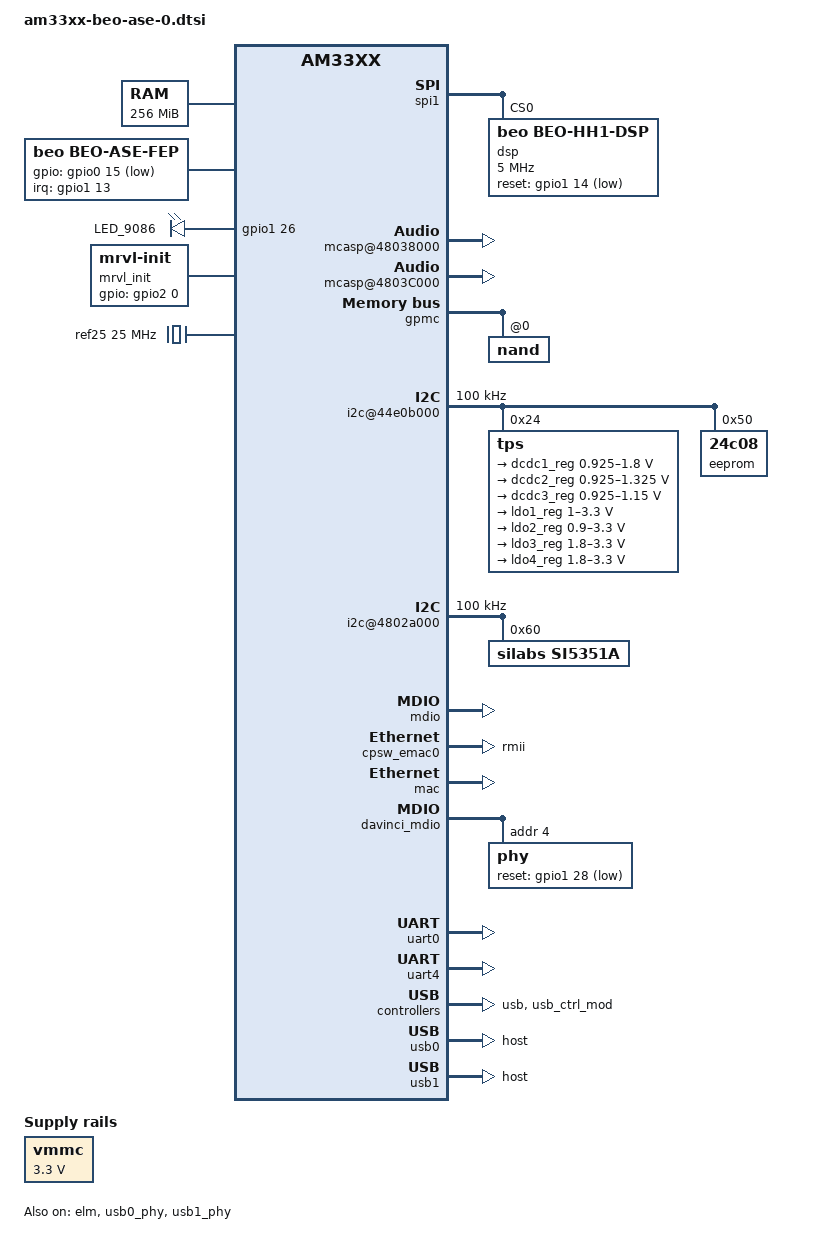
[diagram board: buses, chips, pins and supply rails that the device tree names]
/*
 * This program is free software; you can redistribute it and/or modify
 * it under the terms of the GNU General Public License version 2 as
 * published by the Free Software Foundation.
 */

#include "am33xx.dtsi"

/ {
	compatible = "ti,am335x-beo-hh1", "ti,am33xx";

	chosen {
		bootargs = "console=ttyO0,115200n8";
	};

	memory {
		device_type = "memory";
		reg = <0x80000000 0x10000000>; /* 256 MB */
	};

	cpus {
		cpu@0 {
			cpu0-supply = <&dcdc2_reg>;
		};
	};


	ocp {

		//Stream800 -> dsp shared memory
		spi1: spi@481a0000 {
			status = "okay";
			ti,pindir-d0-out-d1-in;
			pinctrl-names = "default";
			pinctrl-0 = <&spi1_pins &dsp_pins>;

			dsp: dsp@0 {
				compatible = "beo,beo-hh1-dsp";
				// compatible = "spidev";
				// compatible = "m25px80-nonjedec";		// works (flash only)
				reg = <0>;

				spi-max-frequency = <5000000>;

				reset_gpios = <&gpio1 14 1>;
			};
		};

		//Stream800 -> FEP virtual device
		fep: fep@0 {
			compatible = "beo,beo-ase-fep";
			gpios = <&gpio0 15 1>;		// GPIO0_15 (UART1_TX)

			pinctrl-names = "default";
			pinctrl-0 = <&fep_pins>;

			// interrupt-from-fep gpio line
			irq_gpios = <&gpio1 13 0>;		// GPIO1_13

			// interface Stream800 -> FEP
			interface = "ttyO4";

			volume {
				compatible = "beo,beo-ase-dsp";
			};

			fep_info {
				compatible = "beo,beo-ase-fephw";
			};

			fwupdate {
				compatible = "beo,beo-hh1-fwupdate";
				fw_name = "beo-ase-fep.bin";
			};

			beo_power: power {
				compatible = "beo,beo-hh1-power";
				#address-cells = <1>;
				#size-cells = <0>;

				supply0@0 {
					label = "SMPS";
					reg = <0x00>;
				};
				supply0@1 {
					label = "DSP";
					reg = <0x01>;
				};
				supply0@2 {
					label = "SUPP";
					reg = <0x02>;
				};
				supply0@3 {
					label = "DSP_RESET";
					reg = <0x03>;
				};
				supply0@4 {
					label = "AUDIO";
					reg = <0x04>;
				};
				supply0@6 {
					label = "OFF";
					reg = <0x06>;
				};
			};
		};

		leds {
			compatible = "gpio-leds";
			pinctrl-names = "default";
			pinctrl-0 = <&led_pins>;

			Debug_LED_9086 {
				label = "LED_9086";
				gpios = <&gpio1 26 0>;
				default-state = "on";
				linux,default-trigger = "heartbeat";
			};
		};

		// tdm/8 setup:
		mcasp@48038000 {
			status = "okay";
			op-mode = <0>;          /* MCASP_IIS_MODE */
			tdm-slots = <2>; 	/*I2S = 2 channles, other: TDM */
			num-serializer = <4>; 	/*num of serializers*/
			serial-dir = <  1 2 0 0 >; /* 0: INACTIVE, 1: TX, 2: RX */
			tx-num-evt = <2>; 	/*tx FIFO buffer lenght */
			rx-num-evt = <1>; 	/*rx FIFO buffer lenght */
			tx-rx-clk-separate;
		};

		mcasp@4803C000 {
			status = "okay";
			op-mode = <1>;          /* MCASP_DIT_MODE */
			tdm-slots = <2>;
			num-serializer = <4>;
			serial-dir = <  0 0 1 0 >;/* 0: INACTIVE, 1: TX, 2: RX */
			tx-num-evt = <1>;
			rx-num-evt = <0>;
		};

		gpmc: gpmc@50000000 {
			status = "okay";

			nand@0,0 {
				reg = <0 0 0>; /* CS0 */
				gpmc,device-width = <1>;
				nand-bus-width = <8>;
				ti,nand-ecc-opt = "bch8";
				elm_id = <&elm>;

				gpmc,sync-clk-ps = <0>;
				gpmc,cs-on-ns = <0>;
				gpmc,cs-rd-off-ns = <44>;
				gpmc,cs-wr-off-ns = <44>;
				gpmc,adv-on-ns = <6>;
				gpmc,adv-rd-off-ns = <34>;
				gpmc,adv-wr-off-ns = <44>;
				gpmc,we-on-ns = <6>;
				gpmc,we-off-ns = <40>;
				gpmc,oe-on-ns = <6>;
				gpmc,oe-off-ns = <54>;
				gpmc,page-burst-access-ns = <0>;
				gpmc,access-ns = <64>;
				gpmc,rd-cycle-ns = <82>;
				gpmc,wr-cycle-ns = <82>;
				gpmc,cycle2cycle-delay-ns = <0>;
				gpmc,bus-turnaround-ns = <0>;
				gpmc,wait-monitoring-ns = <0>;
				gpmc,clk-activation-ns = <0>;
				gpmc,wr-data-mux-bus-ns = <0>;
				gpmc,wait-on-read = "true";
				gpmc,wait-on-write = "true";

				#address-cells = <1>;
				#size-cells = <1>;
			};
		};

		i2c@44e0b000 {
			status = "okay";
			clock-frequency = <100000>;
			pinctrl-names = "default";
			pinctrl-0 = <&i2c0_pins>;

			tps: tps@24 {
				reg = <0x24>;
			};

			eeprom: at24@50 {
				compatible = "24c08";
				reg = <0x50>;
				pagesize = <16>;
			};
		};

		i2c@4802a000 {
			status = "okay";
			clock-frequency = <100000>;
			pinctrl-names = "default";
			pinctrl-0 = <&i2c1_pins>;

			/* Si5351a i2c clock generator */
			si5351a: clock-generator@60 {
				compatible = "silabs,si5351a";
				reg = <0x60>;
				#address-cells = <1>;
				#size-cells = <0>;
				#clock-cells = <1>;

				/* connect xtal input to 25MHz reference */
				clocks = <&ref25>;
				clock-names = "xtal";

				/* connect xtal input as source of pll0 and pll1 */
				silabs,pll-source = <0 0>, <1 0>;

				/*
				 * overwrite clkout0 configuration with:
				 * - 8mA output drive strength
				 * - pll0 as clock source of multisynth0
				 * - multisynth0 as clock source of output divider
				 * - multisynth0 can change pll0
				 */
				clkout0 {
					reg = <0>;
					silabs,drive-strength = <8>;
					silabs,multisynth-source = <0>;
					silabs,clock-source = <0>;
					silabs,pll-master;
					clock-frequency = <12288000>;
				};

				/*
				 * overwrite clkout1 configuration with:
				 * - 2mA output drive strength
				 * - pll1 as clock source of multisynth1
				 * - multisynth1 as clock source of output divider
				 * - multisynth1 can change pll1
				 */
				clkout1 {
					reg = <1>;
					silabs,drive-strength = <2>;
					silabs,multisynth-source = <1>;
					silabs,clock-source = <0>;
					silabs,pll-master;
					silabs,disable-state = <2>;
					clock-frequency = <12288000>;
				};

				/*
				 * overwrite clkout2 configuration with:
				 * - 8mA output drive strength
				 * - pll1 as clock source of multisynth1
				 * - multisynth1 as clock source of output divider
				 * - multisynth0 can change pll1
				 */

				clkout2 {
					reg = <2>;
					silabs,drive-strength = <8>;
					silabs,multisynth-source = <1>;
					silabs,clock-source = <0>;
					silabs,disable-state = <2>;
					clock-frequency = <24576000>;
				};
			};
		};

		/* platform driver to init marwell chip */
		mrvl_init: mrvl_init{
			compatible = "mrvl-init";
			gpios = <&gpio2 0 0>;
			linux,clock-name = "clkout2_ck";
		};
	};

	dummy_tx_codec:dummy_tx_codec {
		compatible = "linux,spdif-dit";
	};

	dummy_rx_codec:dummy_rx_codec {
		compatible = "linux,spdif-dir";
	};

	audio {
		compatible = "sue,am33xx-generic-audio";
		pinctrl-names = "default";
		pinctrl-0 = <&audio_pins>;
		sue,card-name = "Stream Audio";
		clocks = <&si5351a 0>, <&si5351a 0>, <&si5351a 1>, <&si5351a 2>; /* playback clk, receive clk, dsp1, dsp2 */
		sue,mclk-base-48k = <12288000>;
		sue,persistent-clocks;

		// dsp setup:
// TDM setup:
//		sue,tdm-channels = <8>;
//		sue,dsp-b-1;
//		sue,invert-bclk;

// I2S setup:
		sue,invert-wclk;
		links {
			link@0 {
				sue,name = "tx-tdm8";
				sue,stream-name = "TDM";
				sue,platform = <&mcasp0>;
				sue,cpu-dai-name = "48038000.mcasp";
				sue,codec = <&dummy_tx_codec>;
				sue,codec-dai-name = "dit-hifi";
	//			sue,mute-amp-pin = <&gpio1 12 0>;
			};
			link@1 {
				sue,name = "rx-tdm8";
				sue,stream-name = "TDM";
				sue,platform = <&mcasp0>;
				sue,cpu-dai-name = "48038000.mcasp";
				sue,codec = <&dummy_rx_codec>;
				sue,codec-dai-name = "dir-hifi";
				sue,codec-is-bfclk-master;
				sue,codec-is-mclk-master;
			};
		};
	};

	/* 25MHz output from AR8030 Ethernet PHY */
	ref25: ref25M {
		compatible = "fixed-clock";
		#clock-cells = <0>;
		clock-frequency = <25000000>;
	};

	vmmc: reg_vmmc_gpio {
		compatible = "regulator-fixed";
		regulator-name = "vmmc";
		regulator-min-microvolt = <3300000>;
		regulator-max-microvolt = <3300000>;
		regulator-enable-high;

	};

	mdio: davinci_mdio@4a101000 {
		compatible = "ti,davinci-mdio";
		ti,hwmods = "davinci_mdio";
	};

};

&cpsw_emac0 {
	phy_id = <&davinci_mdio 4>;
	phy-mode = "rmii";
};

&phy_sel {
	rmii-clock-ext;
};

&mac {
	status = "okay";
};

&davinci_mdio {
	status = "okay";
	phy: phy@4 {
		reg = <4>;
		reset-gpios = <&gpio1 28 1>;
	};
};

#include "tps65217.dtsi"

&tps {
	regulators {
		dcdc1_reg: regulator@0 {
			/* VDD_1V8 */
			regulator-min-microvolt = <925000>;
			regulator-max-microvolt = <1800000>;
			regulator-boot-on;
			regulator-always-on;
		};

		dcdc2_reg: regulator@1 {
			/* VDD_MPU voltage limits 0.95V - 1.26V with +/-4% tolerance */
			regulator-name = "vdd_mpu";
			regulator-min-microvolt = <925000>;
			regulator-max-microvolt = <1325000>; /* ??? */
			regulator-boot-on;
			regulator-always-on;
		};

		dcdc3_reg: regulator@2 {
			/* VDD_CORE voltage limits 0.95V - 1.1V with +/-4% tolerance */
			regulator-name = "vdd_core";
			regulator-min-microvolt = <925000>;
			regulator-max-microvolt = <1150000>; /* ??? */
			regulator-boot-on;
			regulator-always-on;
		};

		ldo1_reg: regulator@3 {
			/* VRTC */
			regulator-min-microvolt = <1000000>;
			regulator-max-microvolt = <3300000>;
			regulator-boot-on;
			regulator-always-on;
		};

		ldo2_reg: regulator@4 {
			/* WIFI_REG_EN */
			regulator-min-microvolt = <900000>;
			regulator-max-microvolt = <3300000>;
			regulator-boot-on;
			regulator-always-on;
		};

		ldo3_reg: regulator@5 {
			regulator-min-microvolt = <1800000>;
			regulator-max-microvolt = <3300000>;
			regulator-boot-on;
			regulator-always-on;
		};

		ldo4_reg: regulator@6 {
			regulator-min-microvolt = <1800000>;
			regulator-max-microvolt = <3300000>;
			regulator-boot-on;
			regulator-always-on;
		};
	};

	backlight {
		isel = <1>;  /* 1 - ISET1, 2 ISET2 */
		fdim = <100>; /* TPS65217_BL_FDIM_100HZ */
		default-brightness = <100>;
	};

};

&uart0 {
	status = "okay";
	pinctrl-names = "default";
	pinctrl-0 = <&uart0_pins>;
};

//Stream800 -> FEP serial interface
&uart4 {
	pinctrl-names = "default";
	pinctrl-0 = <&uart4_pins>;
	status = "okay";
};

&am33xx_pinmux {
	pinctrl-names = "default";
	pinctrl-0 = <&gpio_pins &gpio_phy_reset_pins>;

	gpio_phy_reset_pins: pinmux_gpio_phy_reset_pins {
		pinctrl-single,pins = <
			0x78 0x07 >;
	};

	spi1_pins: pinmux_spi1_pins {
		pinctrl-single,pins = <
			0x190 0x2b	/* mcasp0_aclkx;  SPI1_CLK  (GPIO3_14) 990,3 */
			0x194 0x3b	/* mcasp0_fsx;    SPI1_D0   (GPIO3_15) 994,3 */
			0x198 0x2b	/* mcasp0_axr0;   SPI1_D1   (GPIO3_16) 998,3 */
			0x19c 0x3b	/* mcasp0_ahclkr; SPI1_CS0  (GPIO3_17) 99c,3 */
		>;
	};

	uart4_pins: pinmux_uart4_pins {
		pinctrl-single,pins = <
			0x168 0x39 /* uart0_ctsn.uart4_rxd */
			0x16c 0x01 /* uart0_rtsn.uart4_txd */
		>;
	};

	// extra DSP connections
	dsp_pins: pinmux_dsp_pins {
		pinctrl-single,pins = <
			0x30 0x07		/* dsp reset + flash;   LCD_DATA17 -> GPIO1_14    830,7 */
		>;
	};

	// extra FEP connections
	fep_pins: pinmux_fep_pins {
		pinctrl-single,pins = <
			0x34 0x37	/* irq from fep; pin 45; GPMC_AD13 -> GPIO1_13      834,7 */
		>;
	};

	// various GPIOs
	gpio_pins: pinmux_gpio_pins {
		pinctrl-single,pins = <
			0x38 0x37	/* mains fail; pin 55;  GPMC_AD14 -> GPIO1_14   838,7 (LCD_DATA_17)*/
			0x3c 0x07	/* wifi reset; pin 53;  GPMC_AD15 -> GPIO1_15   83c,7 (LCD_DATA_18) */
			0x178 0x37	/* wakeup;     pin 152; UART1_CTSN -> GPIO0_12  978,7 */
		>;
	};

	// debug LEDs
	led_pins: pinmux_led_pins {
		pinctrl-single,pins = <
			0x68 0x07	/* led D9086; pin 58; GPMC_A10 -> GPIO1_26 */
			0x58 0x07	/* led D9085; pin 54; GPMC_A6 -> GPIO1_22 */
		>;
	};

	audio_pins: pinmux_audio_pins {
		pinctrl-single,pins = <
			/* pin-name    -> function(id)     ASE name       - comment */

			0x120 0x26	/* GMII1_TXD2  -> MCASP0_AHCLKX(6) (OSC_AP_MCLK)  - PD, in (si chip) */

			0x12c 0x06	/* GMII1_TXCLK -> MCASP0_ACLKX(6)  (AP_BCLK_OUT)  - PD, out */
			0x130 0x06	/* GMII1_RXCLK -> MCASP0_FSX(6)    (AP_WCLK_OUT)  - PD, out */
			0x134 0x06	/* GMII1_RXD3  -> MCASP0_AXR0(6)   (AP_SDATA_OUT) - PD, out */

			0x118 0x26	/* GMII1_RXDV  -> MCASP0_ACLKR(6)  (AP_BCLK_IN)   - PD, in */
			0x11c 0x26	/* GMII1_TXD3  -> MCASP0_FSR(6)    (AP_WCLK_IN)   - PD, in */
			0x138 0x26	/* GMII1_RXD2  -> MCASP0_AXR1(6)   (AP_SDATA_IN)  - PD, in */
		>;
	};

	uart0_pins: pinmux_uart0_pins {
		pinctrl-single,pins = <
			0x170 0x38	/* UART0_RXD */
			0x174 0x00	/* UART0_TXD */
		>;
	};

	i2c0_pins: pinmux_i2c0_pins {
		pinctrl-single,pins = <
			0x188 0x68	/* I2C0_SDA */
			0x18c 0x68	/* I2C0_SCL */
		>;
	};

	i2c1_pins: pinmux_i2c1_pins {
		pinctrl-single,pins = <
			0x184 0x6b	/* I2C1_SCL */
			0x180 0x6b	/* I2C1_SDA */
		>;
	};

	mmc1_pins: pinmux_mmc1_pins {
		pinctrl-single,pins = <
			0x0fc 0x38	/* MMC0_DAT0 */
			0x0f8 0x38	/* MMC0_DAT1 */
			0x0f4 0x38	/* MMC0_DAT2 */
			0x0f0 0x38	/* MMC0_DAT3 */
			0x100 0x38	/* MMC0_CLK */
			0x104 0x38	/* MMC0_CMD */
		>;
	};

	mmc1_cirq_pin: pinmux_cirq_pin {
		pinctrl-single,pins = <
			0x0f8 0x3f	/* MMC0_DAT1 as GPIO2_28 */
		>;
	};

	spi0_pins: pinmux_spi0_pins {
		pinctrl-single,pins = <
			0x150 0x28	/* SPI0_SCLK */
			0x154 0x38	/* SPI0_D0 */
			0x158 0x28	/* SPI0_D1 */
			0x15c 0x38	/* SPI0_CS0 */
		>;
	};
};

&elm {
	status = "okay";
};

&usb {
	status = "okay";
};

&usb_ctrl_mod {
	status = "okay";
};

&usb0_phy {
	status = "okay";
};

&usb1_phy {
	status = "okay";
};

&usb0 {
	status = "okay";
	dr_mode = "host";
};

&usb1 {
	status = "okay";
	dr_mode = "host";
};

&cppi41dma  {
	status = "okay";
};

